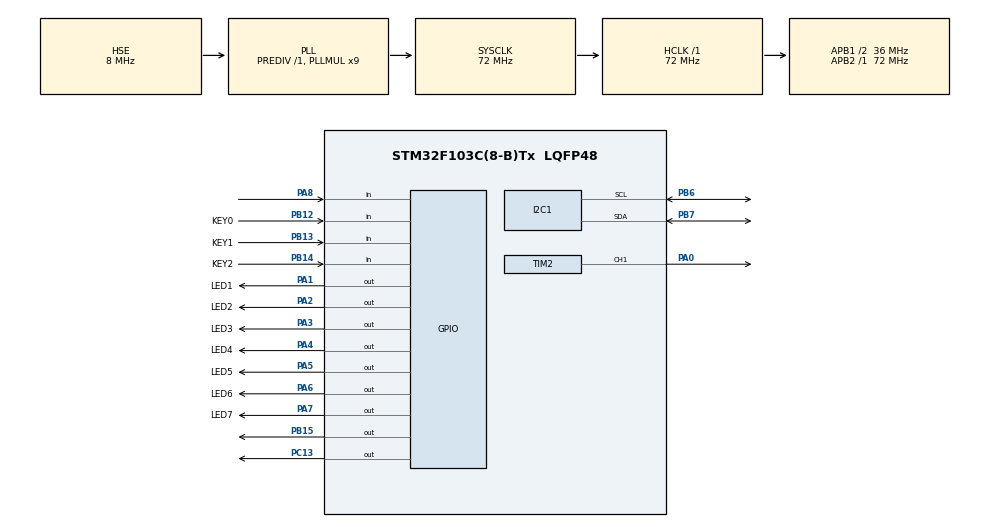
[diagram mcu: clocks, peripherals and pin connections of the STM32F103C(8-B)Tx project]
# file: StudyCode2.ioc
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Mcu.Family=STM32F1
Mcu.Name=STM32F103C(8-B)Tx
Mcu.Package=LQFP48
NVIC.PriorityGroup=NVIC_PRIORITYGROUP_4
PA0-WKUP.Signal=S_TIM2_CH1_ETR
PA1.GPIO_Label=LED1
PA1.PinState=GPIO_PIN_SET
PA1.Signal=GPIO_Output
PA13.Mode=Serial_Wire
PA13.Signal=SYS_JTMS-SWDIO
PA14.Mode=Serial_Wire
PA14.Signal=SYS_JTCK-SWCLK
PA2.GPIO_Label=LED2
PA2.PinState=GPIO_PIN_SET
PA2.Signal=GPIO_Output
PA3.GPIO_Label=LED3
PA3.PinState=GPIO_PIN_SET
PA3.Signal=GPIO_Output
PA4.GPIO_Label=LED4
PA4.PinState=GPIO_PIN_SET
PA4.Signal=GPIO_Output
PA5.GPIO_Label=LED5
PA5.PinState=GPIO_PIN_SET
PA5.Signal=GPIO_Output
PA6.GPIO_Label=LED6
PA6.PinState=GPIO_PIN_SET
PA6.Signal=GPIO_Output
PA7.GPIO_Label=LED7
PA7.PinState=GPIO_PIN_SET
PA7.Signal=GPIO_Output
PA8.Signal=GPIO_Input
PB12.GPIO_Label=KEY0
PB12.Signal=GPIO_Input
PB13.GPIO_Label=KEY1
PB13.Signal=GPIO_Input
PB14.GPIO_Label=KEY2
PB14.Signal=GPIO_Input
PB15.GPIO_Speed=GPIO_SPEED_FREQ_MEDIUM
PB15.Signal=GPIO_Output
PB6.Mode=I2C
PB6.Signal=I2C1_SCL
PB7.Mode=I2C
PB7.Signal=I2C1_SDA
PC13-TAMPER-RTC.PinState=GPIO_PIN_SET
PC13-TAMPER-RTC.Signal=GPIO_Output
PD0-OSC_IN.Mode=HSE-External-Oscillator
PD0-OSC_IN.Signal=RCC_OSC_IN
PD1-OSC_OUT.Mode=HSE-External-Oscillator
PD1-OSC_OUT.Signal=RCC_OSC_OUT
ProjectManager.HeapSize=0x200
ProjectManager.StackSize=0x400
ProjectManager.TargetToolchain=STM32CubeIDE
RCC.AHBFreq_Value=72000000
RCC.APB1CLKDivider=RCC_HCLK_DIV2
RCC.APB1Freq_Value=36000000
RCC.APB1TimFreq_Value=72000000
RCC.APB2Freq_Value=72000000
RCC.APB2TimFreq_Value=72000000
RCC.EnbaleCSS=true
RCC.HCLKFreq_Value=72000000
RCC.PLLMUL=RCC_PLL_MUL9
RCC.PLLSourceVirtual=RCC_PLLSOURCE_HSE
RCC.SYSCLKFreq_VALUE=72000000
RCC.SYSCLKSource=RCC_SYSCLKSOURCE_PLLCLK
RCC.USBFreq_Value=72000000
SH.S_TIM2_CH1_ETR.0=TIM2_CH1,PWM Generation1 CH1
TIM2.Channel-PWM\ Generation1\ CH1=TIM_CHANNEL_1
TIM2.OCPolarity_1=TIM_OCPOLARITY_LOW
TIM2.Period=999
TIM2.Prescaler=71
TIM2.Pulse-PWM\ Generation1\ CH1=0
VP_TIM2_VS_ClockSourceINT.Mode=Internal
board=custom

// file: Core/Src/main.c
/* USER CODE BEGIN Header */
/**
  ******************************************************************************
  * @file           : main.c
  * @brief          : Main program body
  ******************************************************************************
  * @attention
  *
  * Copyright (c) 2023 STMicroelectronics.
  * All rights reserved.
  *
  * This software is licensed under terms that can be found in the LICENSE file
  * in the root directory of this software component.
  * If no LICENSE file comes with this software, it is provided AS-IS.
  *
  ******************************************************************************
  */
/* USER CODE END Header */
#include "main.h"
#include "i2c.h"
#include "tim.h"
#include "gpio.h"

/* USER CODE BEGIN PV */
#ifdef TASK3
uint8_t a;
#endif
#ifdef TASK5
uint16_t compare = 0;
#endif
/* USER CODE END PV */

void SystemClock_Config(void);
/* USER CODE BEGIN PFP */
#ifdef TASK3

uint16_t FIBONACCI(uint8_t a);

#endif
#ifdef TASK4

//void HAL_TIM_PeriodElapsedCallback(TIM_HandleTypeDef *htim);

#endif
/* USER CODE END PFP */

int main(void) {

    /* MCU Configuration--------------------------------------------------------*/

    /* Reset of all peripherals, Initializes the Flash interface and the Systick. */
    HAL_Init();

    /* Configure the system clock */
    SystemClock_Config();

    /* Initialize all configured peripherals */
    MX_GPIO_Init();
    MX_I2C1_Init();
    MX_TIM2_Init();
    /* USER CODE BEGIN 2 */
#ifndef TASK5
#ifndef TASK4
    GPIO_InitTypeDef GPIO_InitStruct = {0};
    HAL_GPIO_WritePin(GPIOA, GPIO_PIN_0, GPIO_PIN_SET);
    GPIO_InitStruct.Pin = GPIO_PIN_0;
    GPIO_InitStruct.Mode = GPIO_MODE_OUTPUT_PP;
    GPIO_InitStruct.Pull = GPIO_NOPULL;
    GPIO_InitStruct.Speed = GPIO_SPEED_FREQ_LOW;
    HAL_GPIO_Init(GPIOA, &GPIO_InitStruct);
#endif
#endif
#ifdef TASK4
    //    HAL_TIM_Base_Start_IT(&htim2);
        HAL_TIM_Base_Start(&htim2);
        HAL_TIM_PWM_Start(&htim2, TIM_CHANNEL_1);
#endif
#ifdef TASK5
    //    HAL_TIM_Base_Start_IT(&htim2);
    HAL_TIM_Base_Start(&htim2);
    HAL_TIM_PWM_Start(&htim2, TIM_CHANNEL_1);
#endif
    /* USER CODE END 2 */

    /* Infinite loop */
    while (1) {

        /* USER CODE BEGIN 3 */
#ifdef TASK1
        FLOWLED();
#endif
#ifdef TASK2
        if (HAL_GPIO_ReadPin(GPIOB, GPIO_PIN_12) == GPIO_PIN_RESET) {
            HAL_Delay(80);
            if (HAL_GPIO_ReadPin(GPIOB, GPIO_PIN_12) == GPIO_PIN_RESET) {           //判断按键按下
                while (HAL_GPIO_ReadPin(GPIOB, GPIO_PIN_12) == GPIO_PIN_RESET);
                HAL_Delay(80);
                if (HAL_GPIO_ReadPin(GPIOB, GPIO_PIN_12) == GPIO_PIN_SET) {         //判断按键松开，松�?后反转led电平
                    HAL_GPIO_TogglePin(GPIOA, 0X00FF);
                }
            }
        }
        if (HAL_GPIO_ReadPin(GPIOB, GPIO_PIN_13) == GPIO_PIN_RESET) {
            HAL_Delay(80);
            if (HAL_GPIO_ReadPin(GPIOB, GPIO_PIN_13) == GPIO_PIN_RESET) {           //判断按键按下
                while (HAL_GPIO_ReadPin(GPIOB, GPIO_PIN_13) == GPIO_PIN_RESET);
                HAL_Delay(80);
                if (HAL_GPIO_ReadPin(GPIOB, GPIO_PIN_13) == GPIO_PIN_SET) {         //判断按键松开，松�?后反转led电平
                    while (1) {
                        FLOWLED();
                    }
                }
            }
        }
#endif
#ifdef TASK3
        if (HAL_GPIO_ReadPin(GPIOB, GPIO_PIN_12) == GPIO_PIN_RESET) {
            HAL_Delay(80);
            if (HAL_GPIO_ReadPin(GPIOB, GPIO_PIN_12) == GPIO_PIN_RESET) {           //判断按键按下
                while (HAL_GPIO_ReadPin(GPIOB, GPIO_PIN_12) == GPIO_PIN_RESET);
                HAL_Delay(80);
                if (HAL_GPIO_ReadPin(GPIOB, GPIO_PIN_12) == GPIO_PIN_SET) {         //判断按键松开，松�?后反转led电平
                    for (a = 1;
                         FIBONACCI(a) <= 0x00FF; a++) {                      //仅在项数值在1-255时亮起化为二进制时相应的LED
                        HAL_GPIO_TogglePin(GPIOA, FIBONACCI(a));
                        HAL_Delay(1000);
                        HAL_GPIO_TogglePin(GPIOA, FIBONACCI(a));
                    }
                }
            }
        }
#endif
#ifdef TASK4
        for (uint16_t i = 0; i < 1000; ++i) {
            __HAL_TIM_SET_COMPARE(&htim2, TIM_CHANNEL_1, i);
            HAL_Delay(1);
        }
        HAL_Delay(200);
        for (uint16_t i = 1000; i > 0; --i) {
            __HAL_TIM_SET_COMPARE(&htim2, TIM_CHANNEL_1, i);
            HAL_Delay(1);
        }
        HAL_Delay(200);
#endif
#ifdef TASK5
        if (HAL_GPIO_ReadPin(GPIOB, GPIO_PIN_12) == GPIO_PIN_RESET) {
            HAL_Delay(80);
            if (HAL_GPIO_ReadPin(GPIOB, GPIO_PIN_12) == GPIO_PIN_RESET) {           //判断按键按下
                while (HAL_GPIO_ReadPin(GPIOB, GPIO_PIN_12) == GPIO_PIN_RESET) {
                    while (HAL_GPIO_ReadPin(GPIOB, GPIO_PIN_12) == GPIO_PIN_RESET) {
                        if (compare < 1000) {
                            __HAL_TIM_SET_COMPARE(&htim2, TIM_CHANNEL_1, compare);
                            compare++;
                            HAL_Delay(3);
                        }
                    }
                    HAL_Delay(80);
                }
            }
        }
        if (HAL_GPIO_ReadPin(GPIOB, GPIO_PIN_13) == GPIO_PIN_RESET) {
            HAL_Delay(80);
            if (HAL_GPIO_ReadPin(GPIOB, GPIO_PIN_13) == GPIO_PIN_RESET) {           //判断按键按下
                while (HAL_GPIO_ReadPin(GPIOB, GPIO_PIN_13) == GPIO_PIN_RESET) {
                    while (HAL_GPIO_ReadPin(GPIOB, GPIO_PIN_13) == GPIO_PIN_RESET) {
                        if (compare > 0) {
                            __HAL_TIM_SET_COMPARE(&htim2, TIM_CHANNEL_1, compare);
                            compare--;
                            HAL_Delay(3);
                        }
                    }
                    HAL_Delay(80);
                }
            }
        }
#endif
    }
    /* USER CODE END 3 */
}

void SystemClock_Config(void) {
    RCC_OscInitTypeDef RCC_OscInitStruct = {0};
    RCC_ClkInitTypeDef RCC_ClkInitStruct = {0};

    /** Initializes the RCC Oscillators according to the specified parameters
    * in the RCC_OscInitTypeDef structure.
    */
    RCC_OscInitStruct.OscillatorType = RCC_OSCILLATORTYPE_HSE;
    RCC_OscInitStruct.HSEState = RCC_HSE_ON;
    RCC_OscInitStruct.HSEPredivValue = RCC_HSE_PREDIV_DIV1;
    RCC_OscInitStruct.HSIState = RCC_HSI_ON;
    RCC_OscInitStruct.PLL.PLLState = RCC_PLL_ON;
    RCC_OscInitStruct.PLL.PLLSource = RCC_PLLSOURCE_HSE;
    RCC_OscInitStruct.PLL.PLLMUL = RCC_PLL_MUL9;
    if (HAL_RCC_OscConfig(&RCC_OscInitStruct) != HAL_OK) {
        Error_Handler();
    }

    /** Initializes the CPU, AHB and APB buses clocks
    */
    RCC_ClkInitStruct.ClockType = RCC_CLOCKTYPE_HCLK | RCC_CLOCKTYPE_SYSCLK
                                  | RCC_CLOCKTYPE_PCLK1 | RCC_CLOCKTYPE_PCLK2;
    RCC_ClkInitStruct.SYSCLKSource = RCC_SYSCLKSOURCE_PLLCLK;
    RCC_ClkInitStruct.AHBCLKDivider = RCC_SYSCLK_DIV1;
    RCC_ClkInitStruct.APB1CLKDivider = RCC_HCLK_DIV2;
    RCC_ClkInitStruct.APB2CLKDivider = RCC_HCLK_DIV1;

    if (HAL_RCC_ClockConfig(&RCC_ClkInitStruct, FLASH_LATENCY_2) != HAL_OK) {
        Error_Handler();
    }

    /** Enables the Clock Security System
    */
    HAL_RCC_EnableCSS();
}

/* USER CODE BEGIN 4 */
#ifdef TASK3

uint16_t FIBONACCI(uint8_t a) {
    uint16_t b = 1, c = 1, d = 0;
    /**注意变量类型的大小，只能大不能小，否则会输出随机范围数！
    */
    if (a == 1) {
        return 1;
    } else if (a == 2) {
        return 1;
    } else if (a > 2) {
        for (int j = 2; j < a; j++) {
            d = b + c;
            b = c;
            c = d;
        }
        return c;
    } else {
        return 0;
    }
}

#endif
#ifdef TASK4

//void HAL_TIM_PeriodElapsedCallback(TIM_HandleTypeDef *htim) {
//    if (htim == &htim2) {
//        //500ms trigger
//        HAL_GPIO_TogglePin(GPIOC, GPIO_PIN_13);
//    }
//}

#endif
/* USER CODE END 4 */

void Error_Handler(void) {
    __disable_irq();
    while (1) {
    }
}
